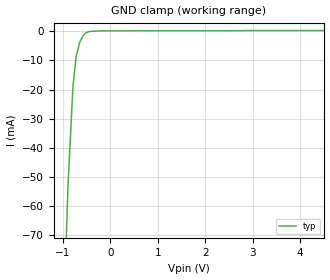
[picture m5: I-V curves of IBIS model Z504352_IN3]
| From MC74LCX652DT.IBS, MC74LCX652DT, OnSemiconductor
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| (C) COPYRIGHT 1993-2000
| MENTOR GRAPHICS CORPORATION
| ICX STANDARD LIBRARY, ICX PROJECT MODELING,
| ICX CUSTOM MODELING, ICX VENDOR MODEL
| ALL RIGHTS RESERVED.
| THE FOLLOWING ARE TRADEMARKS OR SERVICE MARKS OF
| MENTOR GRAPHICS CORPORATION:ICX (R), ICX STANDARD
| LIBRARY(R), ICX PROJECT MODELING(R), ICX CUSTOM
| MODELING(R), qualityIBIS(TM), MODELVIEWER(TM),
| AND MODELEDITOR(TM)
| ALL COPIES OF SOFTWARE, INCLUDING BUT NOT LIMITED TO
| ANY MODIFICATIONS, ENHANCEMENTS OR DERIVATIVE WORKS,
| MUST CONTAIN ALL MENTOR GRAPHICS CORPORATION'S
| NOTICES AND LEGENDS, INCLUDING THOSE EMBEDDED IN
| SOFTWARE AND THOSE AFFIXED TO SOFTWARE MEDIUM
| AND CONTAINER, AS RECEIVED FROM MENTOR GRAPHICS
| CORPORATION.
| Model Application Version 1.89 2/18/99.
[Model] Z504352_IN3
Model_type Input
Vinl = 800.0mV
Vinh = 2.000V
C_comp 4.000pF NA NA
| variable typ   min   max
[Voltage Range] 3.300V NA NA
[GND Clamp Reference] 0.000V NA NA
[POWER Clamp Reference] 3.300V NA NA
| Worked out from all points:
|   GND clamp passes 1 mA (typ) near -0.55 V on its own axis
[GND Clamp]
-3.3V     -1.441A    NA         NA
-1.024V   -116.2mA   NA         NA
-893.5mV  -52.53mA   NA         NA
-789.8mV  -18.75mA   NA         NA
-722.7mV  -8.614mA   NA         NA
-644.5mV  -3.587mA   NA         NA
-588.1mV  -1.838mA   NA         NA
-532.2mV  -695.7uA   NA         NA
-449.2mV  -54.78uA   NA         NA
703.8mV   205.6uA    NA         NA
6.6V      256.3uA    NA         NA
[POWER Clamp]
-3.3V     0A         NA         NA
6.6V      0A         NA         NA
